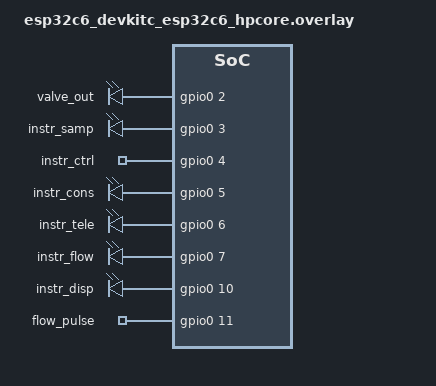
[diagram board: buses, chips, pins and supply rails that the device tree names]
/*
 * ESP32-C6-DevKitC-1 pin map for the week-3 superloop.
 *
 * GPIO8 is reserved for the board's addressable WS2812. The valve therefore
 * uses an external LED on GPIO2, matching the verified lab01 bring-up.
 * Instrumentation stays on ordinary GPIOs and the flow input is GPIO11.
 */

#include <zephyr/dt-bindings/gpio/gpio.h>

/ {
	aliases {
		led0 = &valve_out;
	};

	leds {
		compatible = "gpio-leds";
		valve_out: valve_out { gpios = <&gpio0 2 GPIO_ACTIVE_HIGH>; };
	};

	instr {
		compatible = "gpio-leds";
		instr_samp: instr_samp { gpios = <&gpio0 3 GPIO_ACTIVE_HIGH>; };
		instr_ctrl: instr_ctrl { gpios = <&gpio0 4 GPIO_ACTIVE_HIGH>; };
		instr_cons: instr_cons { gpios = <&gpio0 5 GPIO_ACTIVE_HIGH>; };
		instr_tele: instr_tele { gpios = <&gpio0 6 GPIO_ACTIVE_HIGH>; };
		instr_flow: instr_flow { gpios = <&gpio0 7 GPIO_ACTIVE_HIGH>; };
		instr_disp: instr_disp { gpios = <&gpio0 10 GPIO_ACTIVE_HIGH>; };
	};

	keys {
		compatible = "gpio-keys";
		flow_pulse: flow_pulse {
			gpios = <&gpio0 11 (GPIO_ACTIVE_HIGH | GPIO_PULL_DOWN)>;
		};
	};
};
